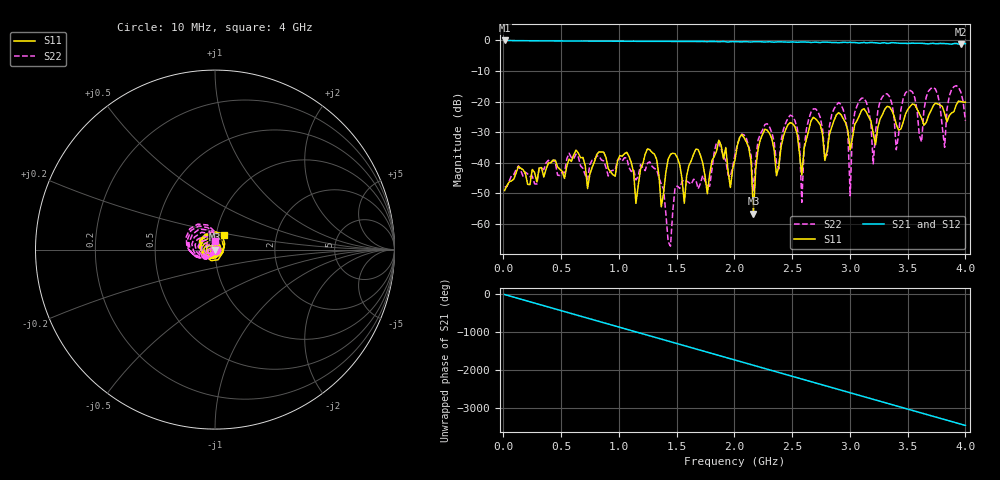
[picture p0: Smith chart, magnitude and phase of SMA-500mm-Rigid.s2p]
! 9/28/2016 3:36:35 PM
! C:\USERS\ANRITSUUSER\DESKTOP\SWITCHES\SMA-500MM-RIGID.S2P
! CHANNEL.1
! TR.MEASUREMENT
! CORRECTED.DATA
# GHZ S RI R 50.0
! FREQ.GHZ  S11RE  S11IM  S21RE  S21IM  S12RE  S12IM  S22RE  S22IM
!; PortSelection: Port_12
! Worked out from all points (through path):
!   201 points, 10 MHz to 4 GHz, reference 50 ohm
!   highest |S21| = -0.02 dB at 10 MHz (marker M1); lowest = -1.2 dB at 3.96 GHz (marker M2)
!   group delay of S21, straight-line fit = 2.4 ns
!   lowest |S11| = -56.6 dB at 2.165 GHz (marker M3), VSWR 1.00, Z = 49.9 - j0.0918 ohm
!   |S11| at or under -10 dB: start of sweep to end of sweep
!   |S22| runs from -67.3 to -14.8 dB; largest |S21 - S12| = 0.022
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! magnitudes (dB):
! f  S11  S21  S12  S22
! 10 MHz  -49.1  0.0  0.0  -47.9
! 688.3 MHz  -38.3  -0.2  -0.3  -41.8
! 1.347 GHz  -44.2  -0.3  -0.4  -45.0
! 1.446 GHz  -37.2  -0.3  -0.4  -67.3
! 1.486 GHz  -37.0  -0.3  -0.4  -48.0
! 2.005 GHz  -38.9  -0.4  -0.4  -37.4
! 2.125 GHz  -35.2  -0.5  -0.5  -34.8
! 2.165 GHz  -56.6  -0.4  -0.5  -49.5
! 2.224 GHz  -32.4  -0.4  -0.5  -30.6
! 2.484 GHz  -26.9  -0.6  -0.6  -24.4
! 2.584 GHz  -44.0  -0.5  -0.5  -52.9
! 2.683 GHz  -25.1  -0.6  -0.7  -22.4
! 2.923 GHz  -24.3  -0.7  -0.8  -20.9
! 3.002 GHz  -35.7  -0.6  -0.6  -50.8
! 3.062 GHz  -26.2  -0.8  -0.7  -21.3
! 3.202 GHz  -30.4  -0.7  -0.7  -40.4
! 3.342 GHz  -21.8  -0.9  -0.9  -18.3
! 3.401 GHz  -27.5  -0.9  -0.9  -35.7
! 3.741 GHz  -20.5  -1.1  -1.1  -15.9
! 3.82 GHz  -23.9  -1.0  -1.1  -34.9
! 3.96 GHz  -20.0  -1.2  -1.2  -16.9
! 4 GHz  -20.2  -1.0  -1.0  -26.2
